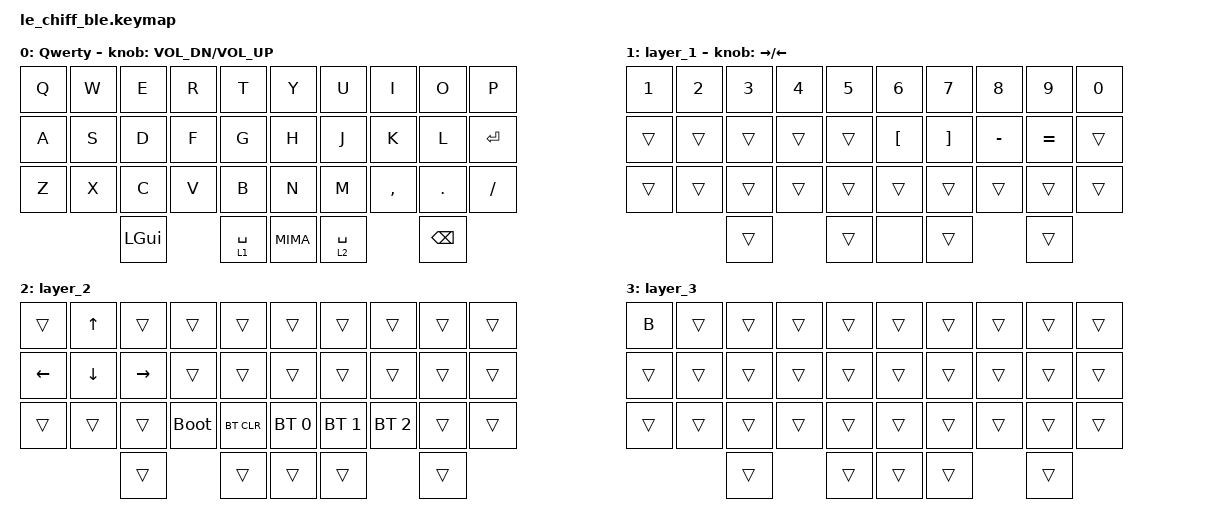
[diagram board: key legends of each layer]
/*
 * Copyright (c) 2021 @MangoIV
 *
 * SPDX-License-Identifier: MIT
 */

#include <behaviors.dtsi>
#include <dt-bindings/zmk/bt.h>
#include <dt-bindings/zmk/keys.h>

// makes it possible to hold backspace

&lt { quick_tap_ms = <200>; };

/ {
    combos {
        compatible = "zmk,combos";

        CAP {
            bindings = <&kp CAPS>;
            key-positions = <10 11>;
            timeout-ms = <120>;
        };

        CTR {
            bindings = <&kp LCTRL>;
            key-positions = <11 12>;
            timeout-ms = <120>;
        };

        ALT {
            bindings = <&kp LEFT_ALT>;
            key-positions = <12 13>;
            timeout-ms = <120>;
        };

        SHIFT1 {
            bindings = <&kp LEFT_SHIFT>;
            key-positions = <20 21>;
            timeout-ms = <120>;
        };

        SHIFT2 {
            bindings = <&kp RIGHT_SHIFT>;
            key-positions = <29 28>;
            timeout-ms = <120>;
        };

        EESC {
            bindings = <&kp ESC>;
            key-positions = <0 1>;
            timeout-ms = <120>;
        };

        DELE {
            bindings = <&kp DELETE>;
            key-positions = <8 9>;
            timeout-ms = <120>;
        };
    };

    behaviors {
        hm: homerow_mods {
            compatible = "zmk,behavior-hold-tap";
            label = "homerow_mods";
            bindings = <&kp>, <&kp>;

            #binding-cells = <2>;
            flavor = "tap-preferred";
            tapping-term-ms = <200>;
        };
    };

    macros {
        MIMA: MIMA {
            compatible = "zmk,behavior-macro";
            #binding-cells = <0>;
            bindings = <&kp N1 &kp N5 &kp N0 &kp N5 &kp N0 &kp N7>;
            label = "MIMA";
        };
    };

    keymap {
        compatible = "zmk,keymap";

        default {
            label = "Qwerty";
            bindings = <
&kp Q  &kp W  &kp E         &kp R  &kp T        &kp Y  &kp U        &kp I      &kp O          &kp P
&kp A  &kp S  &kp D         &kp F  &kp G        &kp H  &kp J        &kp K      &kp L          &kp ENTER
&kp Z  &kp X  &kp C         &kp V  &kp B        &kp N  &kp M        &kp COMMA  &kp DOT        &kp FSLH
              &kp LEFT_GUI         &lt 1 SPACE  &MIMA  &lt 2 SPACE             &kp BACKSPACE
            >;

            sensor-bindings = <&inc_dec_kp C_VOL_DN C_VOL_UP>;
        };

        layer_1 {
            bindings = <
&kp N1  &kp N2  &kp N3  &kp N4  &kp N5  &kp N6    &kp N7    &kp N8     &kp N9     &kp N0
&trans  &trans  &trans  &trans  &trans  &kp LBKT  &kp RBKT  &kp MINUS  &kp EQUAL  &trans
&trans  &trans  &trans  &trans  &trans  &trans    &trans    &trans     &trans     &trans
                &trans          &trans  &none     &trans               &trans
            >;

            sensor-bindings = <&inc_dec_kp RIGHT LEFT>;
        };

        layer_2 {
            bindings = <
&trans    &kp UP    &trans     &trans       &trans      &trans        &trans        &trans        &trans  &trans
&kp LEFT  &kp DOWN  &kp RIGHT  &trans       &trans      &trans        &trans        &trans        &trans  &trans
&trans    &trans    &trans     &bootloader  &bt BT_CLR  &bt BT_SEL 0  &bt BT_SEL 1  &bt BT_SEL 2  &trans  &trans
                    &trans                  &trans      &trans        &trans                      &trans
            >;
        };

        layer_3 {
            bindings = <
&kp B   &trans  &trans  &trans  &trans  &trans  &trans  &trans  &trans  &trans
&trans  &trans  &trans  &trans  &trans  &trans  &trans  &trans  &trans  &trans
&trans  &trans  &trans  &trans  &trans  &trans  &trans  &trans  &trans  &trans
                &trans          &trans  &trans  &trans          &trans
            >;
        };
    };
};
